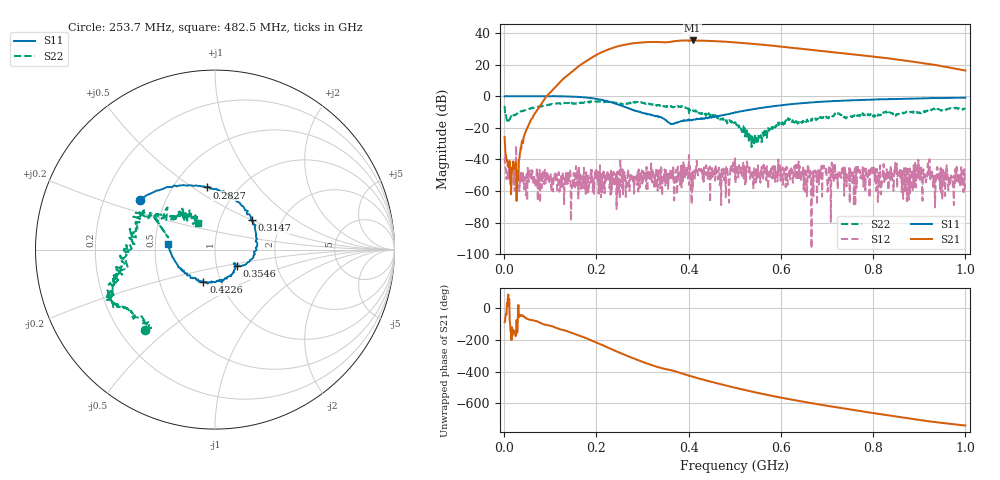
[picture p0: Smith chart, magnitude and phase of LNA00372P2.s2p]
! Created with skrf 1.9.0 (http://scikit-rf.org).
# Hz S RI R 50.0
!freq ReS11 ImS11 ReS21 ImS21 ReS12 ImS12 ReS22 ImS22
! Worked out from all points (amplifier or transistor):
!   1001 points, 1 MHz to 1 GHz, reference 50 ohm
!   highest |S21| = 35.2 dB at 408.6 MHz (marker M1)
!   |S21| within 3 dB of that: 256.6 MHz to 571.1 MHz (314.5 MHz wide, 76 % of centre)
!   unconditionally stable (mu >= 1): 8.351 MHz to 67.58 MHz; 233.9 MHz to 898.1 MHz; 898.1 MHz to end of sweep (the widest 3 of 31)
!   at 166.8 MHz: K = 0.97, MSG = 35.7 dB, |S12| = -51.5 dB
!   at 500.5 MHz: K = 1.05, MAG = 35.3 dB, |S12| = -39.3 dB
!   at 1 GHz: K = 6.62, MAG = 24.3 dB, |S12| = -54.8 dB
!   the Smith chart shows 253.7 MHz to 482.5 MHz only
!   S11 on the Smith chart (normalised r, x): 253.7 MHz: 0.36, +0.27; 282.7 MHz: 0.72, +0.57; 314.7 MHz: 1.41, +0.50; 354.6 MHz: 1.26, -0.23; 422.6 MHz: 0.83, -0.31; 482.5 MHz: 0.58, +0.04
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1000000  0.9804 0.00343  0.00288 -0.0503  -0.00625 -0.0107  0.3763 0.3167
1.08892e8  0.5126 -0.8528  -0.8514 -1.575  -7.98e-05 -0.0025  0.4217 -0.3818
1.67833e8  -0.2508 -0.8949  -10.24 -0.4981  0.00207 0.00215  0.0348 -0.6272
2.12788e8  -0.6935 -0.3121  -15.32 19.41  -0.000421 -0.000796  -0.1979 -0.6349
2.32768e8  -0.6366 0.0246  -6.754 31.85  -0.00053 -0.000699  -0.2662 -0.5724
2.53747e8  -0.4152 0.2786  9.875 38.44  -0.00189 -0.00432  -0.3918 -0.4466
2.82718e8  -0.0473 0.3462  35.41 31.11  0.00101 -0.00146  -0.5741 -0.2628
3.14686e8  0.2043 0.1634  50.83 5.694  0.00106 0.00265  -0.5428 -0.1386
3.34666e8  0.2266 -0.00793  50.07 -11.21  0.00113 0.00221  -0.5139 -0.0611
3.54646e8  0.1241 -0.0899  45.23 -22.64  0.000784 0.00264  -0.478 0.0667
3.76624e8  0.114 -0.0987  40.69 -38.26  -0.000908 0.00585  -0.4556 0.1835
4.08592e8  0.00926 -0.1744  17.87 -54.66  0.000805 -0.000752  -0.3374 0.1984
4.22578e8  -0.0644 -0.179  6.369 -56.4  0.00394 0.00334  -0.2316 0.1796
4.5055e8  -0.1885 -0.1131  -14.71 -53.54  0.00118 0.00524  -0.1593 0.1938
4.82518e8  -0.2624 0.0332  -32.64 -40.51  0.00318 0.00181  -0.0931 0.1464
5.005e8  -0.2777 0.1327  -39.6 -30.95  0.00159 0.0108  -0.036 0.1452
5.4046e8  -0.1933 0.3376  -43.69 -9.039  0.000157 -0.00122  -0.0325 0.00925
5.88412e8  0.0172 0.4891  -36.48 11.68  0.00111 -0.00349  -0.0838 -0.0719
6.67333e8  0.3965 0.4935  -14.26 24.85  -2.74e-05 0.00277  -0.1654 -0.0426
7.53247e8  0.6838 0.2778  3.91 20.65  -0.000703 -0.00373  -0.2193 -0.0161
8.34166e8  0.8042 0.00944  11.36 10.69  -0.00269 0.000907  -0.3097 -0.0408
1e9  0.7226 -0.5302  6.046 -2.254  -0.00146 0.00108  -0.3787 0.1659
